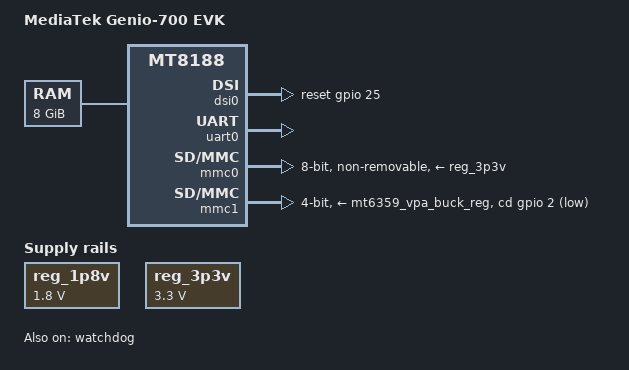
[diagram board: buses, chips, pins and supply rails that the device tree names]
// SPDX-License-Identifier: GPL-2.0 OR MIT
/*
 * Copyright (C) 2022 MediaTek Inc.
 * Author: Chris-QJ Chen <chris-qj.chen@mediatek.com>
 */

/dts-v1/;

#include <config.h>
#include "mt8188.dtsi"
#include "mt6359.dtsi"

/ {
	model = "MediaTek Genio-700 EVK";
	compatible = "mediatek,genio-700-evk", "mediatek,mt8188";

	memory@40000000 {
		/* 8GB */
		device_type = "memory";
		reg = <0 0x40000000 2 0x00000000>;
	};

	firmware: firmware {
		optee {
			compatible = "linaro,optee-tz";
			method = "smc";
		};

		psci: psci {
			compatible = "arm,psci-1.0";
			method = "smc";
		};
	};

	reserved-memory {
		#address-cells = <2>;
		#size-cells = <2>;
		ranges;

		/* 2 MiB reserved for ARM Trusted Firmware (BL31) */
		bl31_secmon_reserved: secmon@54600000 {
			no-map;
			reg = <0 0x54600000 0x0 0x200000>;
		};

		/* 12 MiB reserved for OP-TEE (BL32)
		 * +-----------------------+ 0x43e0_0000
		 * |      SHMEM 2MiB       |
		 * +-----------------------+ 0x43c0_0000
		 * |        | TA_RAM  8MiB |
		 * + TZDRAM +--------------+ 0x4340_0000
		 * |        | TEE_RAM 2MiB |
		 * +-----------------------+ 0x4320_0000
		 */
		optee_reserved: optee@43200000 {
			no-map;
			reg = <0 0x43200000 0 0x00c00000>;
		};

		dsi_reserved: dsi@60000000 {
			reg = <0 0x60000000 0 0x02000000>;
			no-map;
		};
	};

	chosen {
		stdout-path = &uart0;
	};

	reg_1p8v: regulator-1p8v {
		compatible = "regulator-fixed";
		regulator-name = "fixed-1.8V";
		regulator-min-microvolt = <1800000>;
		regulator-max-microvolt = <1800000>;
		regulator-boot-on;
		regulator-always-on;
	};

	reg_3p3v: regulator-3p3v {
		compatible = "regulator-fixed";
		regulator-name = "fixed-3.3V";
		regulator-min-microvolt = <3300000>;
		regulator-max-microvolt = <3300000>;
		regulator-boot-on;
		regulator-always-on;
	};

	dsi0: dsi0{
		compatible = "mediatek,mt8188-dsi";
		reg = <0 0x60000000 0 0x02000000>;
		pinctrl-names = "default";
		pinctrl-0 = <&panel_pins_default>;
		reset-gpios = <&gpio 25 GPIO_ACTIVE_HIGH>;
		dcdc-gpios = <&gpio 45 GPIO_ACTIVE_HIGH>;
		enable-gpios = <&gpio 111 GPIO_ACTIVE_HIGH>;
		status = "okay";
	};
};

&watchdog {
	status = "okay";
};

&uart0 {
	status = "okay";
};

&mmc0 {
	bus-width = <8>;
	max-frequency = <200000000>;
	cap-mmc-highspeed;
	mmc-hs200-1_8v;
	mmc-hs400-1_8v;
	hs400-ds-delay = <0x1481b>;
	cap-mmc-hw-reset;
	vmmc-supply = <&reg_3p3v>;
	vqmmc-supply = <&reg_1p8v>;
	non-removable;
	status = "okay";
};

&mmc1 {
	bus-width = <4>;
	cap-sd-highspeed;
	cd-gpios = <&gpio 2 GPIO_ACTIVE_LOW>;
	max-frequency = <200000000>;
	no-mmc;
	no-sdio;
	pinctrl-names = "default";
	pinctrl-0 = <&mmc1_pins_default>;
	status = "okay";
	vmmc-supply = <&mt6359_vpa_buck_reg>;
	vqmmc-supply = <&mt6359_vsim1_ldo_reg>;
};

&pio {
	mmc1_pins_default: mmc1default {
		pins-cmd-dat {
			pinmux = <PINMUX_GPIO163__FUNC_B1_MSDC1_CMD>,
				 <PINMUX_GPIO165__FUNC_B1_MSDC1_DAT0>,
				 <PINMUX_GPIO166__FUNC_B1_MSDC1_DAT1>,
				 <PINMUX_GPIO167__FUNC_B1_MSDC1_DAT2>,
				 <PINMUX_GPIO168__FUNC_B1_MSDC1_DAT3>;
			input-enable;
			drive-strength = <MTK_DRIVE_6mA>;
			bias-pull-up = <MTK_PUPD_SET_R1R0_01>;
		};

		pins-clk {
			pinmux = <PINMUX_GPIO164__FUNC_B1_MSDC1_CLK>;
			drive-strength = <MTK_DRIVE_6mA>;
			bias-pull-down = <MTK_PUPD_SET_R1R0_10>;
		};

		pins-insert {
			pinmux = <PINMUX_GPIO2__FUNC_B_GPIO2>;
			bias-pull-up;
		};
	};

	panel_pins_default: panel-pins-default {
		panel-dcdc {
			pinmux = <PINMUX_GPIO45__FUNC_B_GPIO45>;
			output-low;
		};

		panel-en {
			pinmux = <PINMUX_GPIO111__FUNC_B_GPIO111>;
			output-low;
		};

		panel-rst {
			pinmux = <PINMUX_GPIO25__FUNC_B_GPIO25>;
			output-high;
		};

		pins-bl {
			pinmux = <PINMUX_GPIO29__FUNC_O_DISP_PWM0>;
		};
	};
};
